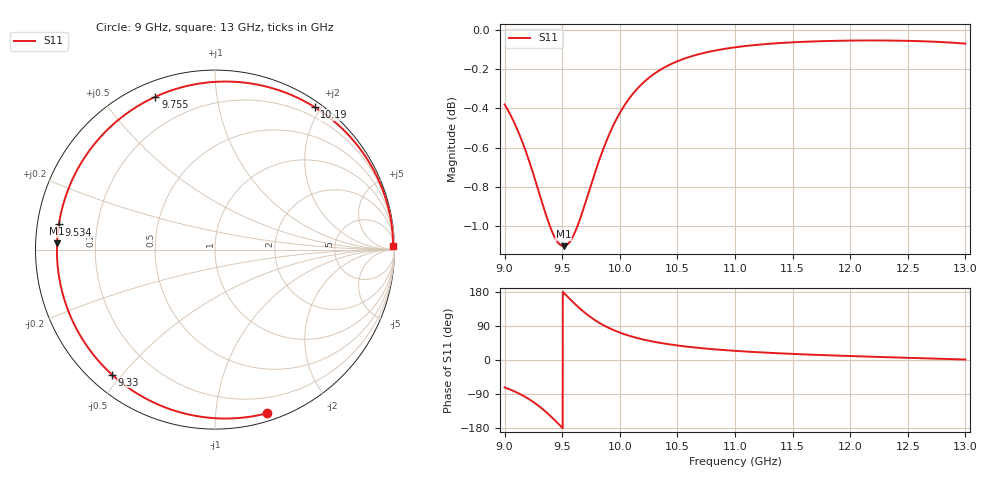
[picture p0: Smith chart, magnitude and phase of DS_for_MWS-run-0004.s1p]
! TOUCHSTONE file generated by CST DESIGN STUDIO
! Date and time: Tue Feb  4 18:31:31 2025
! Project name: C:\Work\MatlabApps\UnitCellOptimizationMatlab\CST\unitcell.cst
! Tree item: Tasks\Sweep1\SPara1\S-Parameters
! Header version: 2024
! Port assignment regex: !\s*Touchstone port\s*([0-9]+)\s*=\s*(CST MWS port|CST DES external port|CST DES block port)\s*(.+)\s* \(\"(.*)\"\)(\s*mode\s*([0-9]+))?.*
! Touchstone port assignment:
! Touchstone port 1 = CST DES external port 1 ("")
# GHz S MA R 50
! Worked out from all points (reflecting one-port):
!   4001 points, 9 GHz to 13 GHz, reference 50 ohm
!   lowest |S11| = -1.1 dB at 9.512 GHz (marker M1), VSWR 15.77, Z = 3.17 + j1.02 ohm
!   phase of S11 starts at -72 deg and turns -286 deg over the sweep
!   S11 on the Smith chart (normalised r, x): 9 GHz: 0.06, -1.37; 9.33 GHz: 0.06, -0.47; 9.534 GHz: 0.06, +0.08; 9.755 GHz: 0.07, +0.68; 10.19 GHz: 0.07, +1.92; 13 GHz: 28, +79
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9  0.9572 -72.3
9.088  0.9464 -83.1
9.191  0.93 -99.4
9.263  0.9162 -113.7
9.33  0.9027 -129.5
9.375  0.8942 -141.4
9.423  0.8868 -155.1
9.462  0.8828 -166.9
9.5  0.8809 -178.6
9.512  0.8808 177.7
9.534  0.8812 170.8
9.588  0.8852 154.4
9.649  0.8939 137.1
9.701  0.9035 123.7
9.755  0.914 111.3
9.805  0.9235 101.2
9.861  0.9332 91.4
10  0.9524 72.4
10.091  0.9613 63.1
10.19  0.9686 55.1
10.332  0.976 46.2
10.5  0.9817 38.4
10.722  0.9864 30.8
11  0.9898 24.1
11.5  0.9927 16.0
12  0.9937 10.4
12.5  0.9936 5.8
13  0.9919 1.3
